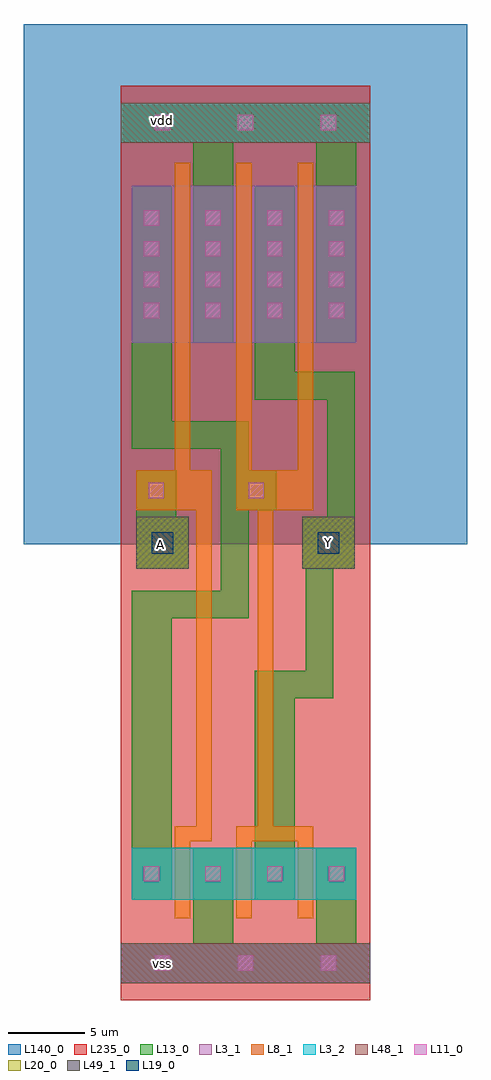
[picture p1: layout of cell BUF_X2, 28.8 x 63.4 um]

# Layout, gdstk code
import gdstk
lib = gdstk.Library(unit=1e-6, precision=1e-09)
def R(c, l, rs):  # rectangles x0, y0, x1, y1
    for r in rs: c.add(gdstk.rectangle(r[:2], r[2:], *l))
def A(c, l, x, y, w, h, nx, ny, dx, dy):  # array of equal rectangles
    R(c, l, [(x+i*dx, y+j*dy, x+i*dx+w, y+j*dy+h) for i in range(nx) for j in range(ny)])
def P(c, l, *ps):  # polygons
    for p in ps: c.add(gdstk.Polygon(p, *l))
L3_1 = (3, 1)
L3_2 = (3, 2)
L8_1 = (8, 1)
L11_0 = (11, 0)
L13_0 = (13, 0)
L19_0 = (19, 0)
L20_0 = (20, 0)
L48_1 = (48, 1)
L49_1 = (49, 1)
L140_0 = (140, 0)
L235_0 = (235, 0)

buf_x2 = lib.new_cell('BUF_X2')
R(buf_x2, L3_1, [(0,1.1,16.2,3.7), (0.7,42.7,7.3,52.9), (4.7,42.7,11.3,52.9), (4.7,42.7,11.3,52.9), (8.7,42.7,15.3,52.9), (8.7,42.7,15.3,52.9)])
A(buf_x2, L3_2, 0.7, 6.5, 6.6, 3.4, 3, 1, 4, 0)
R(buf_x2, L3_2, [(0,55.7,16.2,58.3)])
P(buf_x2, L8_1, [(3.5,5.3),(3.5,11.3),(4.9,11.3),(4.9,31.8),(1,31.8),(1,34.4),(3.5,34.4),(3.5,54.4),(4.5,54.4),(4.5,34.4),(5.9,34.4),(5.9,10.3),(4.5,10.3),(4.5,5.3)],
  [(7.5,5.3),(7.5,11.3),(8.9,11.3),(8.9,31.8),(7.5,31.8),(7.5,54.4),(8.5,54.4),(8.5,34.4),(11.5,34.4),(11.5,54.4),(12.5,54.4),(12.5,31.8),(9.9,31.8),(9.9,11.3),(12.5,11.3),(12.5,5.3),(11.5,5.3),(11.5,10.3),(8.5,10.3),(8.5,5.3)])
A(buf_x2, L11_0, 1.5, 44.3, 1, 1, 1, 4, 0, 2)
R(buf_x2, L11_0, [(2.2,1.9,3.2,2.9), (7.6,1.9,8.6,2.9), (7.6,1.9,8.6,2.9), (13,1.9,14,2.9), (1.5,7.7,2.5,8.7), (5.5,7.7,6.5,8.7), (5.5,7.7,6.5,8.7), (9.5,7.7,10.5,8.7), (9.5,7.7,10.5,8.7), (9.5,7.7,10.5,8.7), (13.5,7.7,14.5,8.7), (1.8,32.6,2.8,33.6), (8.3,32.6,9.3,33.6), (5.5,44.3,6.5,45.3), (5.5,44.3,6.5,45.3), (5.5,44.3,6.5,45.3), (5.5,44.3,6.5,45.3), (9.5,44.3,10.5,45.3), (9.5,44.3,10.5,45.3), (9.5,44.3,10.5,45.3), (9.5,44.3,10.5,45.3), (9.5,44.3,10.5,45.3), (9.5,44.3,10.5,45.3), (13.5,44.3,14.5,45.3), (13.5,44.3,14.5,45.3), (5.5,46.3,6.5,47.3), (5.5,46.3,6.5,47.3), (5.5,46.3,6.5,47.3), (5.5,46.3,6.5,47.3), (9.5,46.3,10.5,47.3), (9.5,46.3,10.5,47.3), (9.5,46.3,10.5,47.3), (9.5,46.3,10.5,47.3), (9.5,46.3,10.5,47.3), (9.5,46.3,10.5,47.3), (13.5,46.3,14.5,47.3), (13.5,46.3,14.5,47.3), (5.5,48.3,6.5,49.3), (5.5,48.3,6.5,49.3), (5.5,48.3,6.5,49.3), (5.5,48.3,6.5,49.3), (9.5,48.3,10.5,49.3), (9.5,48.3,10.5,49.3), (9.5,48.3,10.5,49.3), (9.5,48.3,10.5,49.3), (9.5,48.3,10.5,49.3), (9.5,48.3,10.5,49.3), (13.5,48.3,14.5,49.3), (13.5,48.3,14.5,49.3), (5.5,50.3,6.5,51.3), (5.5,50.3,6.5,51.3), (5.5,50.3,6.5,51.3), (5.5,50.3,6.5,51.3), (9.5,50.3,10.5,51.3), (9.5,50.3,10.5,51.3), (9.5,50.3,10.5,51.3), (9.5,50.3,10.5,51.3), (9.5,50.3,10.5,51.3), (9.5,50.3,10.5,51.3), (13.5,50.3,14.5,51.3), (13.5,50.3,14.5,51.3), (2.2,56.5,3.2,57.5), (2.2,56.5,3.2,57.5), (7.6,56.5,8.6,57.5), (7.6,56.5,8.6,57.5), (7.6,56.5,8.6,57.5), (7.6,56.5,8.6,57.5), (13,56.5,14,57.5)])
R(buf_x2, L13_0, [(0,1.1,16.2,3.7), (4.7,3.7,7.3,9.9), (12.7,3.7,15.3,9.9), (4.7,42.7,7.3,55.7), (12.7,42.7,15.3,55.7), (0,55.7,16.2,58.3)])
P(buf_x2, L13_0, [(1,28),(1,34.4),(3.6,34.4),(3.6,31.4),(4.4,31.4),(4.4,28)],
  [(0.7,6.5),(0.7,26.6),(6.5,26.6),(6.5,35.8),(0.7,35.8),(0.7,52.9),(3.3,52.9),(3.3,37.6),(8.3,37.6),(8.3,34.4),(10.1,34.4),(10.1,31.8),(8.3,31.8),(8.3,24.8),(3.3,24.8),(3.3,6.5)],
  [(8.7,6.5),(8.7,21.4),(12,21.4),(12,28),(11.8,28),(11.8,31.4),(13.4,31.4),(13.4,39),(8.7,39),(8.7,52.9),(11.3,52.9),(11.3,40.8),(15.2,40.8),(15.2,28),(13.8,28),(13.8,19.6),(11.3,19.6),(11.3,6.5)])
R(buf_x2, L19_0, [(2,29,3.4,30.4), (12.8,29,14.2,30.4)])
R(buf_x2, L20_0, [(1,28,4.4,31.4), (11.8,28,15.2,31.4)])
R(buf_x2, L48_1, [(0,1.1,16.2,3.7), (0,55.7,16.2,58.3)])
R(buf_x2, L49_1, [(1,28,4.4,31.4), (11.8,28,15.2,31.4)])
R(buf_x2, L140_0, [(-6.3,29.6,22.5,63.4)])
R(buf_x2, L235_0, [(0,0,16.2,59.4)])
buf_x2.add(gdstk.Label('A', (2.6,29.6), layer=49, texttype=0))
buf_x2.add(gdstk.Label('Y', (13.5,29.7), layer=49, texttype=0))
buf_x2.add(gdstk.Label('vss', (2.7,2.4), layer=48, texttype=0))
buf_x2.add(gdstk.Label('vdd', (2.7,57.1), layer=48, texttype=0))

lib.write_gds('BUF_X2.gds')
